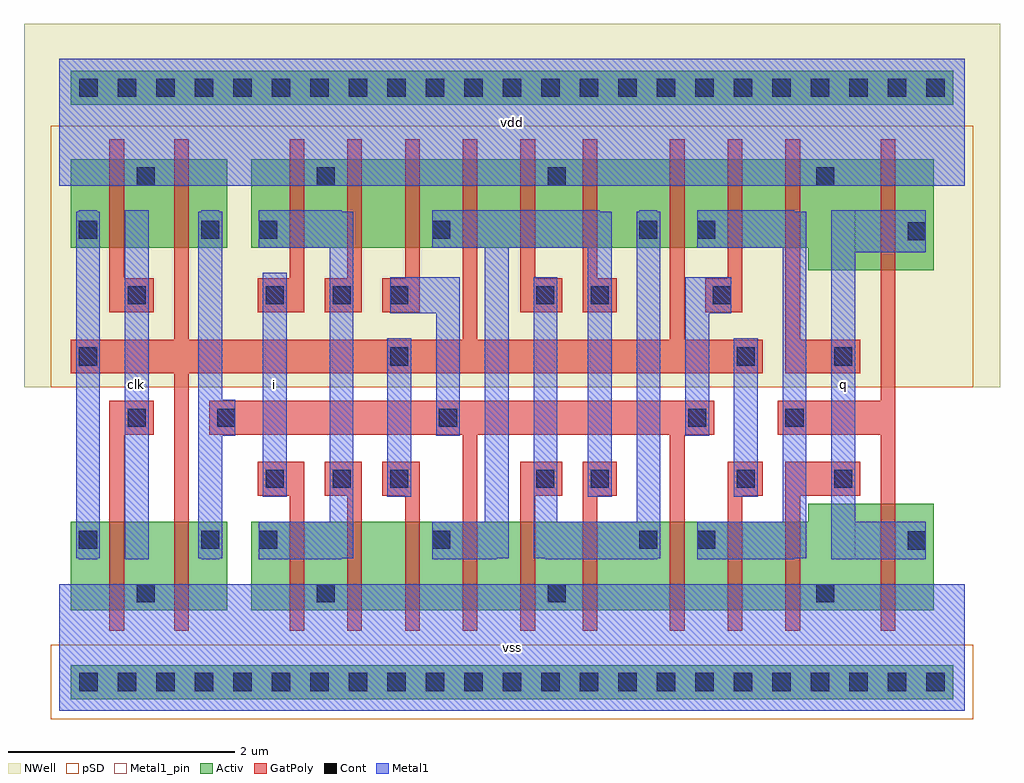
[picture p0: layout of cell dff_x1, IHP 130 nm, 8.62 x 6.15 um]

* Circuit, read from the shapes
.subckt dff_x1 clk i q vdd vss
XM1 vss clk n1 vss sg13_lv_nmos w=0.78u l=0.13u
XM2 n2 n1 vss vss sg13_lv_nmos w=0.78u l=0.13u
XM3 vss i n3 vss sg13_lv_nmos w=0.78u l=0.13u
XM4 n4 n3 vss vss sg13_lv_nmos w=0.78u l=0.13u
XM5 n5 n1 n4 vss sg13_lv_nmos w=0.78u l=0.13u
XM6 n6 n2 n5 vss sg13_lv_nmos w=0.78u l=0.13u
XM7 vss n7 n6 vss sg13_lv_nmos w=0.78u l=0.13u
XM8 n7 n5 vss vss sg13_lv_nmos w=0.78u l=0.13u
XM9 n8 n2 n7 vss sg13_lv_nmos w=0.78u l=0.13u
XM10 n9 n1 n8 vss sg13_lv_nmos w=0.78u l=0.13u
XM11 vss q n9 vss sg13_lv_nmos w=0.78u l=0.13u
XM12 q n8 vss vss sg13_lv_nmos w=0.94u l=0.13u
XM13 vdd clk n1 vdd sg13_lv_pmos w=0.78u l=0.13u
XM14 n2 n1 vdd vdd sg13_lv_pmos w=0.78u l=0.13u
XM15 vdd i n3 vdd sg13_lv_pmos w=0.78u l=0.13u
XM16 n10 n3 vdd vdd sg13_lv_pmos w=0.78u l=0.13u
XM17 n5 n2 n10 vdd sg13_lv_pmos w=0.78u l=0.13u
XM18 n11 n1 n5 vdd sg13_lv_pmos w=0.78u l=0.13u
XM19 vdd n7 n11 vdd sg13_lv_pmos w=0.78u l=0.13u
XM20 n7 n5 vdd vdd sg13_lv_pmos w=0.78u l=0.13u
XM21 n8 n1 n7 vdd sg13_lv_pmos w=0.78u l=0.13u
XM22 n12 n2 n8 vdd sg13_lv_pmos w=0.78u l=0.13u
XM23 vdd q n12 vdd sg13_lv_pmos w=0.78u l=0.13u
XM24 q n8 vdd vdd sg13_lv_pmos w=0.98u l=0.13u
.ends

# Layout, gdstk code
import gdstk
lib = gdstk.Library(unit=1e-6, precision=1e-09)
def R(c, l, rs):  # rectangles x0, y0, x1, y1
    for r in rs: c.add(gdstk.rectangle(r[:2], r[2:], *l))
def A(c, l, x, y, w, h, nx, ny, dx, dy):  # array of equal rectangles
    R(c, l, [(x+i*dx, y+j*dy, x+i*dx+w, y+j*dy+h) for i in range(nx) for j in range(ny)])
def P(c, l, *ps):  # polygons
    for p in ps: c.add(gdstk.Polygon(p, *l))
Activ = (1, 0)
GatPoly = (5, 0)
Cont = (6, 0)
Metal1 = (8, 0)
Metal1_pin = (8, 2)
pSD = (14, 0)
NWell = (31, 0)

dff_x1 = lib.new_cell('dff_x1')
R(dff_x1, Activ, [(0.105,0.105,7.895,0.405), (0.105,0.89,1.485,1.67), (0.105,4.09,1.485,4.87), (0.105,5.355,7.895,5.655)])
P(dff_x1, Activ, [(6.615,3.89),(6.615,4.09),(1.695,4.09),(1.695,4.87),(7.725,4.87),(7.725,3.89)],
  [(1.695,0.89),(1.695,1.67),(6.615,1.67),(6.615,1.83),(7.725,1.83),(7.725,0.89)])
P(dff_x1, GatPoly, [(5.905,0.71),(5.905,2.2),(6.215,2.2),(6.215,1.9),(6.035,1.9),(6.035,0.71)],
  [(3.055,0.71),(3.055,1.9),(2.855,1.9),(2.855,2.2),(3.185,2.2),(3.185,0.71)],
  [(1.015,0.71),(1.015,2.98),(0.105,2.98),(0.105,3.28),(1.015,3.28),(1.015,5.05),(1.145,5.05),(1.145,3.28),(3.565,3.28),(3.565,5.05),(3.695,5.05),(3.695,3.28),(5.395,3.28),(5.395,5.05),(5.525,5.05),(5.525,3.28),(6.215,3.28),(6.215,2.98),(1.145,2.98),(1.145,0.71)],
  [(0.445,0.71),(0.445,2.74),(0.835,2.74),(0.835,2.44),(0.575,2.44),(0.575,0.71)],
  [(0.445,3.52),(0.445,5.05),(0.575,5.05),(0.575,3.82),(0.835,3.82),(0.835,3.52)],
  [(5.705,3.52),(5.705,3.82),(5.905,3.82),(5.905,5.05),(6.035,5.05),(6.035,3.52)],
  [(3.565,0.71),(3.565,2.44),(1.325,2.44),(1.325,2.74),(5.785,2.74),(5.785,2.44),(5.525,2.44),(5.525,0.71),(5.395,0.71),(5.395,2.44),(3.695,2.44),(3.695,0.71)],
  [(2.855,3.52),(2.855,3.82),(3.055,3.82),(3.055,5.05),(3.185,5.05),(3.185,3.52)],
  [(2.345,3.52),(2.345,3.82),(2.545,3.82),(2.545,5.05),(2.675,5.05),(2.675,3.52)],
  [(2.545,0.71),(2.545,1.9),(2.345,1.9),(2.345,2.2),(2.675,2.2),(2.675,0.71)],
  [(1.755,3.52),(1.755,3.82),(2.035,3.82),(2.035,5.05),(2.165,5.05),(2.165,3.52)],
  [(2.035,0.71),(2.035,1.9),(1.755,1.9),(1.755,2.2),(2.165,2.2),(2.165,0.71)],
  [(4.625,3.52),(4.625,5.05),(4.755,5.05),(4.755,3.82),(4.925,3.82),(4.925,3.52)],
  [(4.625,0.71),(4.625,2.2),(4.925,2.2),(4.925,1.9),(4.755,1.9),(4.755,0.71)],
  [(4.075,3.52),(4.075,5.05),(4.205,5.05),(4.205,3.82),(4.445,3.82),(4.445,3.52)],
  [(4.075,0.71),(4.075,2.2),(4.445,2.2),(4.445,1.9),(4.205,1.9),(4.205,0.71)],
  [(7.255,0.71),(7.255,2.44),(6.345,2.44),(6.345,2.74),(7.255,2.74),(7.255,5.05),(7.385,5.05),(7.385,0.71)],
  [(6.415,2.98),(6.415,5.05),(6.545,5.05),(6.545,3.28),(7.075,3.28),(7.075,2.98)],
  [(6.415,0.71),(6.415,2.2),(7.075,2.2),(7.075,1.9),(6.545,1.9),(6.545,0.71)])
A(dff_x1, Cont, 0.18, 0.175, 0.16, 0.16, 23, 2, 0.34, 5.25)
R(dff_x1, Cont, [(0.685,0.96,0.845,1.12), (2.275,0.96,2.435,1.12), (4.315,0.96,4.475,1.12), (6.685,0.96,6.845,1.12), (7.495,1.425,7.655,1.585), (0.175,1.43,0.335,1.59), (1.255,1.43,1.415,1.59), (1.765,1.43,1.925,1.59), (3.295,1.43,3.455,1.59), (5.125,1.43,5.285,1.59), (5.635,1.43,5.795,1.59), (1.825,1.97,1.985,2.13), (2.415,1.97,2.575,2.13), (2.925,1.97,3.085,2.13), (4.215,1.97,4.375,2.13), (4.695,1.97,4.855,2.13), (5.985,1.97,6.145,2.13), (6.845,1.97,7.005,2.13), (0.605,2.51,0.765,2.67), (1.395,2.51,1.555,2.67), (3.355,2.51,3.515,2.67), (5.555,2.51,5.715,2.67), (6.415,2.51,6.575,2.67), (0.175,3.05,0.335,3.21), (2.925,3.05,3.085,3.21), (5.985,3.05,6.145,3.21), (6.845,3.05,7.005,3.21), (0.605,3.59,0.765,3.75), (1.825,3.59,1.985,3.75), (2.415,3.59,2.575,3.75), (2.925,3.59,3.085,3.75), (4.215,3.59,4.375,3.75), (4.695,3.59,4.855,3.75), (5.775,3.59,5.935,3.75), (7.495,4.155,7.655,4.315), (0.175,4.17,0.335,4.33), (1.255,4.17,1.415,4.33), (1.765,4.17,1.925,4.33), (3.295,4.17,3.455,4.33), (5.125,4.17,5.285,4.33), (5.635,4.17,5.795,4.33), (0.685,4.64,0.845,4.8), (2.275,4.64,2.435,4.8), (4.315,4.64,4.475,4.8), (6.685,4.64,6.845,4.8)])
R(dff_x1, Metal1, [(0,0,8,1.12), (0.58,1.34,0.79,4.42), (1.8,1.89,2.01,3.87), (2.9,1.89,3.11,3.29), (5.96,1.89,6.17,3.29), (0,4.64,8,5.76)])
P(dff_x1, Metal1, [(0.175,1.34),(0.175,1.35),(0.15,1.35),(0.15,4.41),(0.175,4.41),(0.175,4.42),(0.335,4.42),(0.335,4.41),(0.36,4.41),(0.36,1.35),(0.335,1.35),(0.335,1.34)],
  [(3.33,2.43),(3.33,3.51),(2.925,3.51),(2.925,3.83),(3.54,3.83),(3.54,2.43)],
  [(1.255,1.34),(1.255,1.35),(1.23,1.35),(1.23,4.41),(1.255,4.41),(1.255,4.42),(1.415,4.42),(1.415,4.41),(1.44,4.41),(1.44,2.75),(1.555,2.75),(1.555,2.43),(1.44,2.43),(1.44,1.35),(1.415,1.35),(1.415,1.34)],
  [(5.53,2.43),(5.53,3.83),(5.935,3.83),(5.935,3.51),(5.74,3.51),(5.74,2.43)],
  [(1.765,1.34),(1.765,1.67),(2.39,1.67),(2.39,4.09),(1.765,4.09),(1.765,4.42),(2.495,4.42),(2.495,4.41),(2.6,4.41),(2.6,1.35),(2.495,1.35),(2.495,1.34)],
  [(3.295,1.34),(3.295,1.67),(3.76,1.67),(3.76,4.09),(3.295,4.09),(3.295,4.42),(4.775,4.42),(4.775,4.41),(4.88,4.41),(4.88,1.89),(4.67,1.89),(4.67,4.09),(3.97,4.09),(3.97,1.35),(3.865,1.35),(3.865,1.34)],
  [(4.295,1.34),(4.295,1.35),(4.19,1.35),(4.19,3.83),(4.4,3.83),(4.4,1.67),(5.1,1.67),(5.1,4.41),(5.125,4.41),(5.125,4.42),(5.285,4.42),(5.285,4.41),(5.31,4.41),(5.31,1.35),(5.285,1.35),(5.285,1.34)],
  [(5.635,1.34),(5.635,1.67),(6.39,1.67),(6.39,4.09),(5.635,4.09),(5.635,4.42),(6.495,4.42),(6.495,4.41),(6.6,4.41),(6.6,1.35),(6.495,1.35),(6.495,1.34)],
  [(6.82,1.34),(6.82,4.42),(7.655,4.42),(7.655,4.05),(7.03,4.05),(7.03,1.67),(7.655,1.67),(7.655,1.34)])
R(dff_x1, Metal1_pin, [(0,0,8,1.12), (0.58,1.34,0.79,4.42), (6.82,1.34,7.03,4.42), (1.8,1.89,2.01,3.87), (0,4.64,8,5.76)])
R(dff_x1, pSD, [(-0.075,-0.075,8.075,0.585), (-0.075,2.86,8.075,5.17)])
R(dff_x1, NWell, [(-0.31,2.86,8.31,6.07)])
dff_x1.add(gdstk.Label('vdd', (4,5.2), layer=8, texttype=2))
dff_x1.add(gdstk.Label('vss', (4,0.56), layer=8, texttype=2))
dff_x1.add(gdstk.Label('clk', (0.685,2.88), layer=8, texttype=2))
dff_x1.add(gdstk.Label('i', (1.905,2.88), layer=8, texttype=2))
dff_x1.add(gdstk.Label('q', (6.925,2.88), layer=8, texttype=2))

lib.write_gds('dff_x1.gds')
